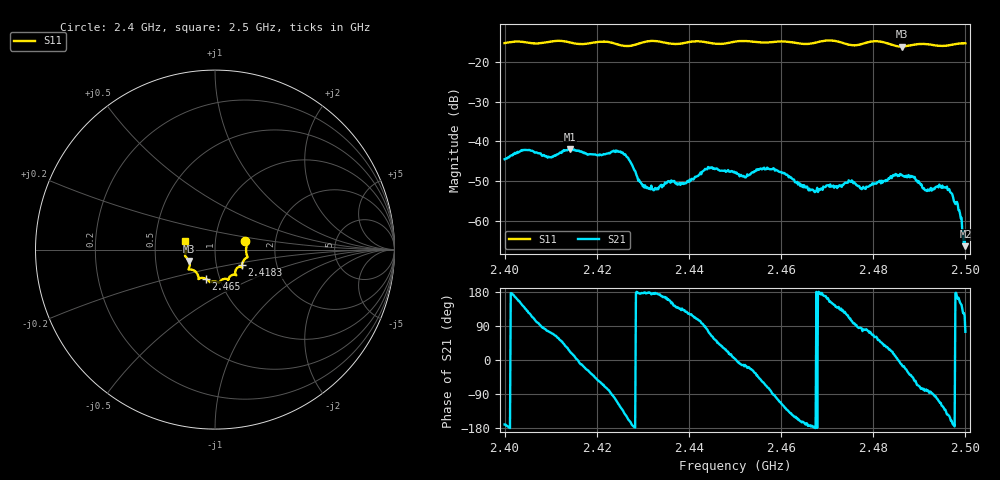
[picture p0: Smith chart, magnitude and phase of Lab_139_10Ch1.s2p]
# Hz S RI R 50
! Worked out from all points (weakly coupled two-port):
!   601 points, 2.4 GHz to 2.5 GHz, reference 50 ohm
!   highest |S21| = -41.94 dB at 2.4142 GHz (marker M1); lowest = -66.4 dB at 2.5 GHz (marker M2)
!   lowest |S11| = -16.0 dB at 2.4862 GHz (marker M3), VSWR 1.38, Z = 37.1 - j4.82 ohm
!   |S11| at or under -10 dB: start of sweep to end of sweep
!   S12 and S22 are empty: the file has one direction only
!   S11 on the Smith chart (normalised r, x): 2.4 GHz: 1.40, +0.13; 2.4183 GHz: 1.33, -0.24; 2.465 GHz: 0.86, -0.29; 2.5 GHz: 0.71, +0.07
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2.4e9  0.1687 0.0458  -0.00588 -0.00102  0 0  0 0
2.404167e9  0.1782 0.0258  -0.006 0.00494  0 0  0 0
2.409833e9  0.1786 -0.0337  0.00181 0.00605  0 0  0 0
2.414167e9  0.1716 -0.0477  0.00741 0.00302  0 0  0 0
2.416667e9  0.1553 -0.0685  0.00736 -0.00145  0 0  0 0
2.418333e9  0.15 -0.0872  0.0059 -0.00352  0 0  0 0
2.425167e9  0.1324 -0.0967  -0.00425 -0.00614  0 0  0 0
2.429833e9  0.1137 -0.1355  -0.00289 0.000165  0 0  0 0
2.433333e9  0.1169 -0.1413  -0.00247 0.000289  0 0  0 0
2.4445e9  0.0652 -0.1633  0.00156 0.0043  0 0  0 0
2.45e9  0.0252 -0.1808  0.00405 0.000198  0 0  0 0
2.4585e9  -0.0211 -0.1796  -0.00019 -0.00451  0 0  0 0
2.465e9  -0.0527 -0.162  -0.00272 -0.000699  0 0  0 0
2.466667e9  -0.0714 -0.1576  -0.00245 -0.000284  0 0  0 0
2.475e9  -0.1017 -0.1305  -0.00105 0.00294  0 0  0 0
2.477833e9  -0.131 -0.1115  0.000436 0.00264  0 0  0 0
2.483333e9  -0.1423 -0.0958  0.00299 0.00168  0 0  0 0
2.486167e9  -0.1447 -0.0634  0.00371 -0.000761  0 0  0 0
2.491667e9  -0.1667 -0.0298  0.000346 -0.00234  0 0  0 0
2.496333e9  -0.1624 0.0202  -0.00206 -0.0014  0 0  0 0
2.498667e9  -0.1674 0.0402  -0.00125 0.000513  0 0  0 0
2.5e9  -0.1671 0.0471  0.000128 0.000459  0 0  0 0
